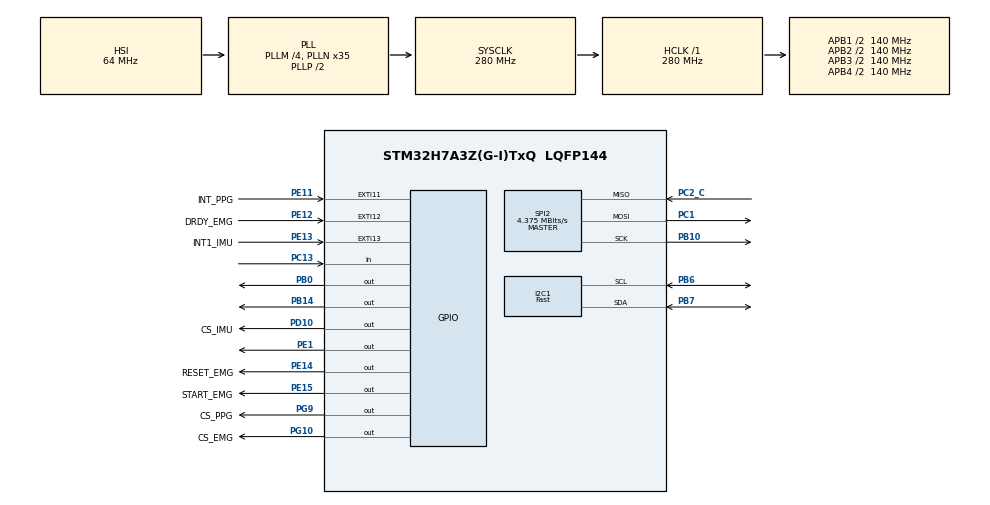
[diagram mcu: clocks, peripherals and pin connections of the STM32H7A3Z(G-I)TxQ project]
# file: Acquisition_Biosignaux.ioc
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CORTEX_M7.default_mode_Activation=1
Dma.Request0=SPI2_RX
Dma.Request1=SPI2_TX
Dma.SPI2_RX.0.Direction=DMA_PERIPH_TO_MEMORY
Dma.SPI2_RX.0.EventEnable=DISABLE
Dma.SPI2_RX.0.FIFOMode=DMA_FIFOMODE_DISABLE
Dma.SPI2_RX.0.Instance=DMA1_Stream3
Dma.SPI2_RX.0.MemDataAlignment=DMA_MDATAALIGN_BYTE
Dma.SPI2_RX.0.MemInc=DMA_MINC_ENABLE
Dma.SPI2_RX.0.Mode=DMA_NORMAL
Dma.SPI2_RX.0.PeriphDataAlignment=DMA_PDATAALIGN_BYTE
Dma.SPI2_RX.0.PeriphInc=DMA_PINC_DISABLE
Dma.SPI2_RX.0.Polarity=HAL_DMAMUX_REQ_GEN_RISING
Dma.SPI2_RX.0.Priority=DMA_PRIORITY_LOW
Dma.SPI2_RX.0.RequestNumber=1
Dma.SPI2_RX.0.SignalID=NONE
Dma.SPI2_RX.0.SyncEnable=DISABLE
Dma.SPI2_RX.0.SyncPolarity=HAL_DMAMUX_SYNC_NO_EVENT
Dma.SPI2_RX.0.SyncRequestNumber=1
Dma.SPI2_RX.0.SyncSignalID=NONE
Dma.SPI2_TX.1.Direction=DMA_MEMORY_TO_PERIPH
Dma.SPI2_TX.1.EventEnable=DISABLE
Dma.SPI2_TX.1.FIFOMode=DMA_FIFOMODE_DISABLE
Dma.SPI2_TX.1.Instance=DMA1_Stream4
Dma.SPI2_TX.1.MemDataAlignment=DMA_MDATAALIGN_BYTE
Dma.SPI2_TX.1.MemInc=DMA_MINC_ENABLE
Dma.SPI2_TX.1.Mode=DMA_NORMAL
Dma.SPI2_TX.1.PeriphDataAlignment=DMA_PDATAALIGN_BYTE
Dma.SPI2_TX.1.PeriphInc=DMA_PINC_DISABLE
Dma.SPI2_TX.1.Polarity=HAL_DMAMUX_REQ_GEN_RISING
Dma.SPI2_TX.1.Priority=DMA_PRIORITY_LOW
Dma.SPI2_TX.1.RequestNumber=1
Dma.SPI2_TX.1.SignalID=NONE
Dma.SPI2_TX.1.SyncEnable=DISABLE
Dma.SPI2_TX.1.SyncPolarity=HAL_DMAMUX_SYNC_NO_EVENT
Dma.SPI2_TX.1.SyncRequestNumber=1
Dma.SPI2_TX.1.SyncSignalID=NONE
FREERTOS.Mutexes01=MTX_SPI2,Dynamic,NULL,Depleted;MTX_I2C1,Dynamic,NULL,Depleted;MTX_PPG_BUF,Dynamic,NULL,Depleted;MTX_EMG_BUF,Dynamic,NULL,Available
FREERTOS.Queues01=Q_TEMP,10,20,1,Dynamic,NULL,NULL;Q_RESULTS,20,64,1,Dynamic,NULL,NULL;Q_FEATURES,1,10,1,Dynamic,NULL,NULL
FREERTOS.Tasks01=vTaskEMGAcq,32,512,StartTaskEMG,Default,NULL,Dynamic,NULL,NULL;vTaskPPGAcq,32,512,StartTaskPPG,Default,NULL,Dynamic,NULL,NULL;vTaskIMUAcq,32,512,StartTaskIMU,Default,NULL,Dynamic,NULL,NULL;vTaskTempAcq,24,256,StartTaskTemp,Default,NULL,Dynamic,NULL,NULL;vTaskDSP,24,1024,StartTaskDSP,Default,NULL,Dynamic,NULL,NULL;TempProcessTask,24,256,StartTempProcess,Default,NULL,Dynamic,NULL,NULL;TaskFeatures,24,512,StartTaskFeatures,Default,NULL,Dynamic,NULL,NULL;vTaskEMGProcess,24,512,StartTaskEMGProcess,Default,NULL,Dynamic,NULL,NULL
FREERTOS.configTOTAL_HEAP_SIZE=32768
FREERTOS.configUSE_NEWLIB_REENTRANT=1
I2C1.I2C_Speed_Mode=I2C_Fast
I2C1.Timing=0x00D04BFF
Mcu.Family=STM32H7
Mcu.Name=STM32H7A3Z(G-I)TxQ
Mcu.Package=LQFP144
NUCLEO-H7A3ZI-Q.BUTTON=1
NUCLEO-H7A3ZI-Q.LD1=true
NUCLEO-H7A3ZI-Q.LD2=true
NUCLEO-H7A3ZI-Q.LD3=true
NUCLEO-H7A3ZI-Q.VCP=true
NVIC.DMA1_Stream3_IRQn=true\:5\:0\:true\:false\:true\:false\:false\:true\:true
NVIC.DMA1_Stream4_IRQn=true\:5\:0\:true\:false\:true\:false\:false\:true\:true
NVIC.EXTI15_10_IRQn=true\:5\:0\:false\:true\:true\:1\:true\:false\:true\:true
NVIC.PriorityGroup=NVIC_PRIORITYGROUP_4
NVIC.SPI2_IRQn=true\:5\:0\:false\:false\:true\:true\:false\:true\:true
NVIC.TIM2_IRQn=true\:5\:0\:false\:false\:true\:true\:true\:true\:true
NVIC.TIM7_IRQn=true\:15\:0\:false\:false\:true\:false\:false\:true\:true
NVIC.TimeBase=TIM7_IRQn
NVIC.TimeBaseIP=TIM7
PB0.Signal=GPIO_Output
PB10.Mode=Full_Duplex_Master
PB10.Signal=SPI2_SCK
PB14.Signal=GPIO_Output
PB6.Mode=I2C
PB6.Signal=I2C1_SCL
PB7.Mode=I2C
PB7.Signal=I2C1_SDA
PC1.Mode=Full_Duplex_Master
PC1.Signal=SPI2_MOSI
PC13.Signal=GPIO_Input
PC14-OSC32_IN.GPIO_Label=OSC32_IN
PC14-OSC32_IN.Signal=RCC_OSC32_IN
PC15-OSC32_OUT.GPIO_Label=OSC32_OUT
PC15-OSC32_OUT.Signal=RCC_OSC32_OUT
PC2_C.Mode=Full_Duplex_Master
PC2_C.Signal=SPI2_MISO
PD10.GPIO_Label=CS_IMU
PD10.GPIO_PuPd=GPIO_PULLUP
PD10.GPIO_Speed=GPIO_SPEED_FREQ_HIGH
PD10.PinState=GPIO_PIN_SET
PD10.Signal=GPIO_Output
PD8.Signal=USART3_TX
PD9.Signal=USART3_RX
PE1.Signal=GPIO_Output
PE11.GPIO_Label=INT_PPG
PE11.GPIO_ModeDefaultEXTI=GPIO_MODE_IT_FALLING
PE11.GPIO_PuPd=GPIO_PULLUP
PE11.Signal=GPXTI11
PE12.GPIO_Label=DRDY_EMG
PE12.GPIO_ModeDefaultEXTI=GPIO_MODE_IT_FALLING
PE12.GPIO_PuPd=GPIO_PULLUP
PE12.Signal=GPXTI12
PE13.GPIO_Label=INT1_IMU
PE13.GPIO_ModeDefaultEXTI=GPIO_MODE_IT_RISING
PE13.GPIO_PuPd=GPIO_PULLDOWN
PE13.Signal=GPXTI13
PE14.GPIO_Label=RESET_EMG
PE14.Signal=GPIO_Output
PE15.GPIO_Label=START_EMG
PE15.Signal=GPIO_Output
PG10.GPIO_Label=CS_EMG
PG10.GPIO_Speed=GPIO_SPEED_FREQ_HIGH
PG10.PinState=GPIO_PIN_SET
PG10.Signal=GPIO_Output
PG9.GPIO_Label=CS_PPG
PG9.GPIO_PuPd=GPIO_NOPULL
PG9.GPIO_Speed=GPIO_SPEED_FREQ_HIGH
PG9.PinState=GPIO_PIN_SET
PG9.Signal=GPIO_Output
PH0-OSC_IN.GPIO_Label=PH0-MCU
PH0-OSC_IN.Signal=RCC_OSC_IN
PH1-OSC_OUT.GPIO_Label=PH1-MCU
PH1-OSC_OUT.Signal=RCC_OSC_OUT
ProjectManager.HeapSize=0x200
ProjectManager.StackSize=0x400
ProjectManager.TargetToolchain=STM32CubeIDE
RCC.ADCFreq_Value=129000000
RCC.APB1Freq_Value=140000000
RCC.APB2Freq_Value=140000000
RCC.APB3Freq_Value=140000000
RCC.APB4Freq_Value=140000000
RCC.CDPPRE=RCC_APB3_DIV2
RCC.CDPPRE1=RCC_APB1_DIV2
RCC.CDPPRE2=RCC_APB2_DIV2
RCC.CortexFreq_Value=280000000
RCC.DIVM1=4
RCC.DIVM3=1
RCC.DIVN1=35
RCC.DIVN3=24
RCC.HCLKFreq_Value=280000000
RCC.HSE_VALUE=8000000
RCC.PLLFRACN=0
RCC.SRDPPRE=RCC_APB4_DIV2
RCC.SYSCLKFreq_VALUE=280000000
RCC.SYSCLKSource=RCC_SYSCLKSOURCE_PLLCLK
RCC.SupplySource=PWR_DIRECT_SMPS_SUPPLY
RCC.USBCLockSelection=RCC_USBCLKSOURCE_HSI48
RCC.USBFreq_Value=48000000
SPI2.BaudRatePrescaler=SPI_BAUDRATEPRESCALER_64
SPI2.CalculateBaudRate=4.375 MBits/s
SPI2.DataSize=SPI_DATASIZE_8BIT
SPI2.Direction=SPI_DIRECTION_2LINES
SPI2.Mode=SPI_MODE_MASTER
SPI2.NSSPMode=SPI_NSS_PULSE_DISABLE
SPI2.VirtualType=VM_MASTER
TIM2.Prescaler=279
VP_FREERTOS_VS_CMSIS_V2.Mode=CMSIS_V2
VP_MEMORYMAP_VS_MEMORYMAP.Mode=CurAppReg
VP_NUCLEO-H7A3ZI-Q_VS_BSP_COMMON.Mode=COMMON
VP_SYS_VS_tim7.Mode=TIM7
VP_TIM2_VS_ClockSourceINT.Mode=Internal
board=NUCLEO-H7A3ZI-Q

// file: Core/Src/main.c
/* USER CODE BEGIN Header */
/**
  ******************************************************************************
  * @file           : main.c
  * @brief          : Main program body
  ******************************************************************************
  * @attention
  *
  * Copyright (c) 2026 STMicroelectronics.
  * All rights reserved.
  *
  * This software is licensed under terms that can be found in the LICENSE file
  * in the root directory of this software component.
  * If no LICENSE file comes with this software, it is provided AS-IS.
  *
  ******************************************************************************
  */
/* USER CODE END Header */
#include "main.h"
#include "cmsis_os.h"
#include "dma.h"
#include "i2c.h"
#include "memorymap.h"
#include "spi.h"
#include "tim.h"
#include "gpio.h"

/* USER CODE BEGIN Includes */
#include "max86141.h"
#include "ads1292r.h"
#include "lsm6dso_imu.h"
#include "tmp117.h"
#include "shtc3.h"
/* USER CODE END Includes */

COM_InitTypeDef BspCOMInit;

/* USER CODE BEGIN PV */

/* Autres variables globales (comme vos handles de tâches) */

/* USER CODE END PV */

void SystemClock_Config(void);
static void MPU_Config(void);
void MX_FREERTOS_Init(void);
static void MX_NVIC_Init(void);

int main(void)
{

  /* MPU Configuration--------------------------------------------------------*/
  MPU_Config();

  /* MCU Configuration--------------------------------------------------------*/

  /* Reset of all peripherals, Initializes the Flash interface and the Systick. */
  HAL_Init();

  /* Configure the system clock */
  SystemClock_Config();

  /* Initialize all configured peripherals */
  MX_GPIO_Init();
  MX_DMA_Init();
  MX_I2C1_Init();
  MX_SPI2_Init();
  MX_TIM2_Init();

  /* Initialize interrupts */
  MX_NVIC_Init();
  /* USER CODE BEGIN 2 */

  /* Initialize leds */
  BSP_LED_Init(LED_GREEN);
  BSP_LED_Init(LED_YELLOW);
  BSP_LED_Init(LED_RED);

 int  init_ok=1;
  /* Initialiser MAX86141 PPG — CS = PG9 */
  /* flag — 1=tout ok · 0=erreur */

  if(MAX86141_Init(&hspi2, GPIOG, GPIO_PIN_9) == 0)
  {
      BSP_LED_On(LED_RED);    /* capteur PPG non détecté → LED rouge */
      init_ok=0;
      Error_Handler();

  }

  /* Initialiser ADS1292R EMG — CS géré par macro dans ads1292r.h */
  if(ADS1292R_Init() == 0)
  {
	  BSP_LED_On(LED_YELLOW);   /* capteur EMG non détecté → LED jaune*/
	  init_ok=0;
      Error_Handler();
  }

  if (LSM6DSO_IMU_Init(&hspi2, CS_IMU_GPIO_Port, CS_IMU_Pin) != LSM6DSO_IMU_OK)
  {
      BSP_LED_On(LED_RED);
      init_ok = 0;
      Error_Handler();
  }

  uint8_t tmp117_init_buf[4];
  if (!init(&hi2c1, tmp117_init_buf)) {
      BSP_LED_On(LED_RED);
      init_ok = 0;
  }

  if (shtc3_read_id(&hi2c1) == 0) {
      BSP_LED_On(LED_RED);
      init_ok = 0;
  }

  if (init_ok==1){ BSP_LED_On(LED_GREEN);}

  /* USER CODE END 2 */

  /* Init scheduler */
  osKernelInitialize();

  /* Call init function for freertos objects (in cmsis_os2.c) */
  MX_FREERTOS_Init();

  /* Initialize leds */
  BSP_LED_Init(LED_GREEN);
  BSP_LED_Init(LED_YELLOW);
  BSP_LED_Init(LED_RED);

  /* Initialize USER push-button, will be used to trigger an interrupt each time it's pressed.*/
  BSP_PB_Init(BUTTON_USER, BUTTON_MODE_EXTI);

  /* Initialize COM1 port (115200, 8 bits (7-bit data + 1 stop bit), no parity */
  BspCOMInit.BaudRate   = 115200;
  BspCOMInit.WordLength = COM_WORDLENGTH_8B;
  BspCOMInit.StopBits   = COM_STOPBITS_1;
  BspCOMInit.Parity     = COM_PARITY_NONE;
  BspCOMInit.HwFlowCtl  = COM_HWCONTROL_NONE;
  if (BSP_COM_Init(COM1, &BspCOMInit) != BSP_ERROR_NONE)
  {
    Error_Handler();
  }

  /* Start scheduler */
  osKernelStart();

  /* We should never get here as control is now taken by the scheduler */

  /* Infinite loop */
  while (1)
  {

  }
}

void SystemClock_Config(void)
{
  RCC_OscInitTypeDef RCC_OscInitStruct = {0};
  RCC_ClkInitTypeDef RCC_ClkInitStruct = {0};

  /*AXI clock gating */
  RCC->CKGAENR = 0xFFFFFFFF;

  /** Supply configuration update enable
  */
  HAL_PWREx_ConfigSupply(PWR_DIRECT_SMPS_SUPPLY);

  /** Configure the main internal regulator output voltage
  */
  __HAL_PWR_VOLTAGESCALING_CONFIG(PWR_REGULATOR_VOLTAGE_SCALE0);

  while(!__HAL_PWR_GET_FLAG(PWR_FLAG_VOSRDY)) {}

  /** Initializes the RCC Oscillators according to the specified parameters
  * in the RCC_OscInitTypeDef structure.
  */
  RCC_OscInitStruct.OscillatorType = RCC_OSCILLATORTYPE_HSI;
  RCC_OscInitStruct.HSIState = RCC_HSI_DIV1;
  RCC_OscInitStruct.HSICalibrationValue = 64;
  RCC_OscInitStruct.PLL.PLLState = RCC_PLL_ON;
  RCC_OscInitStruct.PLL.PLLSource = RCC_PLLSOURCE_HSI;
  RCC_OscInitStruct.PLL.PLLM = 4;
  RCC_OscInitStruct.PLL.PLLN = 35;
  RCC_OscInitStruct.PLL.PLLP = 2;
  RCC_OscInitStruct.PLL.PLLQ = 2;
  RCC_OscInitStruct.PLL.PLLR = 2;
  RCC_OscInitStruct.PLL.PLLRGE = RCC_PLL1VCIRANGE_3;
  RCC_OscInitStruct.PLL.PLLVCOSEL = RCC_PLL1VCOWIDE;
  RCC_OscInitStruct.PLL.PLLFRACN = 0;
  if (HAL_RCC_OscConfig(&RCC_OscInitStruct) != HAL_OK)
  {
    Error_Handler();
  }

  /** Initializes the CPU, AHB and APB buses clocks
  */
  RCC_ClkInitStruct.ClockType = RCC_CLOCKTYPE_HCLK|RCC_CLOCKTYPE_SYSCLK
                              |RCC_CLOCKTYPE_PCLK1|RCC_CLOCKTYPE_PCLK2
                              |RCC_CLOCKTYPE_D3PCLK1|RCC_CLOCKTYPE_D1PCLK1;
  RCC_ClkInitStruct.SYSCLKSource = RCC_SYSCLKSOURCE_PLLCLK;
  RCC_ClkInitStruct.SYSCLKDivider = RCC_SYSCLK_DIV1;
  RCC_ClkInitStruct.AHBCLKDivider = RCC_HCLK_DIV1;
  RCC_ClkInitStruct.APB3CLKDivider = RCC_APB3_DIV2;
  RCC_ClkInitStruct.APB1CLKDivider = RCC_APB1_DIV2;
  RCC_ClkInitStruct.APB2CLKDivider = RCC_APB2_DIV2;
  RCC_ClkInitStruct.APB4CLKDivider = RCC_APB4_DIV2;

  if (HAL_RCC_ClockConfig(&RCC_ClkInitStruct, FLASH_LATENCY_6) != HAL_OK)
  {
    Error_Handler();
  }
}

/**
  * @brief NVIC Configuration.
  * @retval None
  */
static void MX_NVIC_Init(void)
{
  /* EXTI15_10_IRQn interrupt configuration */
  HAL_NVIC_SetPriority(EXTI15_10_IRQn, 5, 0);
  HAL_NVIC_EnableIRQ(EXTI15_10_IRQn);
}

 /* MPU Configuration */

void MPU_Config(void)
{
  MPU_Region_InitTypeDef MPU_InitStruct = {0};

  /* Disables the MPU */
  HAL_MPU_Disable();

  /** Initializes and configures the Region and the memory to be protected
  */
  MPU_InitStruct.Enable = MPU_REGION_ENABLE;
  MPU_InitStruct.Number = MPU_REGION_NUMBER0;
  MPU_InitStruct.BaseAddress = 0x0;
  MPU_InitStruct.Size = MPU_REGION_SIZE_4GB;
  MPU_InitStruct.SubRegionDisable = 0x87;
  MPU_InitStruct.TypeExtField = MPU_TEX_LEVEL0;
  MPU_InitStruct.AccessPermission = MPU_REGION_NO_ACCESS;
  MPU_InitStruct.DisableExec = MPU_INSTRUCTION_ACCESS_DISABLE;
  MPU_InitStruct.IsShareable = MPU_ACCESS_SHAREABLE;
  MPU_InitStruct.IsCacheable = MPU_ACCESS_NOT_CACHEABLE;
  MPU_InitStruct.IsBufferable = MPU_ACCESS_NOT_BUFFERABLE;

  HAL_MPU_ConfigRegion(&MPU_InitStruct);
  /* Enables the MPU */
  HAL_MPU_Enable(MPU_PRIVILEGED_DEFAULT);

}

void HAL_TIM_PeriodElapsedCallback(TIM_HandleTypeDef *htim)
{
  if (htim->Instance == TIM7) {
    HAL_IncTick();
  }
}

void Error_Handler(void)
{
  __disable_irq();
  while (1)
  {
  }
}

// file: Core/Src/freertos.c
/* USER CODE BEGIN Header */
/**
  ******************************************************************************
  * File Name          : freertos.c
  * Description        : Code for freertos applications
  ******************************************************************************
  * @attention
  *
  * Copyright (c) 2026 STMicroelectronics.
  * All rights reserved.
  *
  * This software is licensed under terms that can be found in the LICENSE file
  * in the root directory of this software component.
  * If no LICENSE file comes with this software, it is provided AS-IS.
  *
  ******************************************************************************
  */
/* USER CODE END Header */

#include "FreeRTOS.h"
#include "task.h"
#include "main.h"
#include "cmsis_os.h"

/* USER CODE BEGIN Includes */
#include "max86141.h"
#include "ads1292r.h"
#include "stream_buffer.h"
#include "semphr.h"
#include "string.h"
#include "lsm6dso_imu.h"
#include "tmp117.h"    /* ← doit être présent */
#include "shtc3.h"
#include "ppg_filter.h"
#include "nlms_filter.h"
#include "imu_interpolation.h"
/* USER CODE END Includes */

/* USER CODE BEGIN PD */
/* USER CODE BEGIN PD */
/****************************** Elle regroupe des données de 3 sources
   → TMP117 + SHTC3 + TIM2*******************************************/
/* Taille = 4+4+4+4 = 16 octets
 * cohérent avec Q_TEMPHandle configuré 10 × 16 octets */
typedef struct {
    float    temp_skin_c;      /* TMP117 — température peau en °C  */
    float    temp_ambient_c;   /* SHTC3  — température ambiante °C */
    float    humidity_pct;     /* SHTC3  — humidité relative en %  */
    uint32_t timestamptemp117; /* TIM2   — instant mesure TMP117   */
    uint32_t timestampSHTC3;   /* TIM2   — instant mesure SHTC3    */
} Temp_Sample_t;

/* USER CODE END Elle regroupe des données de 3 sources
   → TMP117 + SHTC3 + TIM2PD */

/* USER CODE END PD */

/* USER CODE BEGIN Variables */
StreamBufferHandle_t SB_PPG = NULL;
StreamBufferHandle_t SB_EMG = NULL;
StreamBufferHandle_t SB_IMU = NULL;

SemaphoreHandle_t sem_dma_ppg = NULL;

/* pour calculer le temps de chaque sample */
extern volatile uint32_t ppg_isr_timestamp;
extern volatile uint32_t emg_isr_timestamp;
extern volatile uint32_t Imu_isr_timestamp;
extern uint8_t ADS1292R_data_buf[9];
extern I2C_HandleTypeDef hi2c1;
extern TIM_HandleTypeDef  htim2;

/* ajouté pour la tache IMU */

/* USER CODE END Variables */
/* Definitions for vTaskEMGAcq */
osThreadId_t vTaskEMGAcqHandle;
const osThreadAttr_t vTaskEMGAcq_attributes = {
  .name = "vTaskEMGAcq",
  .stack_size = 512 * 4,
  .priority = (osPriority_t) osPriorityAboveNormal,
};
/* Definitions for vTaskPPGAcq */
osThreadId_t vTaskPPGAcqHandle;
const osThreadAttr_t vTaskPPGAcq_attributes = {
  .name = "vTaskPPGAcq",
  .stack_size = 512 * 4,
  .priority = (osPriority_t) osPriorityAboveNormal,
};
/* Definitions for vTaskIMUAcq */
osThreadId_t vTaskIMUAcqHandle;
const osThreadAttr_t vTaskIMUAcq_attributes = {
  .name = "vTaskIMUAcq",
  .stack_size = 512 * 4,
  .priority = (osPriority_t) osPriorityAboveNormal,
};
/* Definitions for vTaskTempAcq */
osThreadId_t vTaskTempAcqHandle;
const osThreadAttr_t vTaskTempAcq_attributes = {
  .name = "vTaskTempAcq",
  .stack_size = 256 * 4,
  .priority = (osPriority_t) osPriorityNormal,
};
/* Definitions for vTaskDSP */
osThreadId_t vTaskDSPHandle;
const osThreadAttr_t vTaskDSP_attributes = {
  .name = "vTaskDSP",
  .stack_size = 1024 * 4,
  .priority = (osPriority_t) osPriorityNormal,
};
/* Definitions for TempProcessTask */
osThreadId_t TempProcessTaskHandle;
const osThreadAttr_t TempProcessTask_attributes = {
  .name = "TempProcessTask",
  .stack_size = 256 * 4,
  .priority = (osPriority_t) osPriorityNormal,
};
/* Definitions for Q_TEMP */
osMessageQueueId_t Q_TEMPHandle;
const osMessageQueueAttr_t Q_TEMP_attributes = {
  .name = "Q_TEMP"
};
/* Definitions for Q_RESULTS */
osMessageQueueId_t Q_RESULTSHandle;
const osMessageQueueAttr_t Q_RESULTS_attributes = {
  .name = "Q_RESULTS"
};
/* Definitions for MTX_SPI2 */
osMutexId_t MTX_SPI2Handle;
const osMutexAttr_t MTX_SPI2_attributes = {
  .name = "MTX_SPI2"
};
/* Definitions for MTX_I2C1 */
osMutexId_t MTX_I2C1Handle;
const osMutexAttr_t MTX_I2C1_attributes = {
  .name = "MTX_I2C1"
};

void StartTaskEMG(void *argument);
void StartTaskPPG(void *argument);
void StartTaskIMU(void *argument);
void StartTaskTemp(void *argument);
void StartTaskDSP(void *argument);
void StartTempProcess(void *argument);

void MX_FREERTOS_Init(void); /* (MISRA C 2004 rule 8.1) */

void MX_FREERTOS_Init(void) {
  /* Create the mutex(es) */
  /* creation of MTX_SPI2 */
  MTX_SPI2Handle = osMutexNew(&MTX_SPI2_attributes);

  /* creation of MTX_I2C1 */
  MTX_I2C1Handle = osMutexNew(&MTX_I2C1_attributes);

  /* USER CODE BEGIN RTOS_SEMAPHORES */
  /* add semaphores, ... */
  sem_dma_ppg = xSemaphoreCreateBinary();
  /* USER CODE END RTOS_SEMAPHORES */

  /* Create the queue(s) */
  /* creation of Q_TEMP */
  Q_TEMPHandle = osMessageQueueNew (10, 20, &Q_TEMP_attributes);

  /* creation of Q_RESULTS */
  Q_RESULTSHandle = osMessageQueueNew (20, 64, &Q_RESULTS_attributes);

  /* Create the thread(s) */
  /* creation of vTaskEMGAcq */
  vTaskEMGAcqHandle = osThreadNew(StartTaskEMG, NULL, &vTaskEMGAcq_attributes);

  /* creation of vTaskPPGAcq */
  vTaskPPGAcqHandle = osThreadNew(StartTaskPPG, NULL, &vTaskPPGAcq_attributes);

  /* creation of vTaskIMUAcq */
  vTaskIMUAcqHandle = osThreadNew(StartTaskIMU, NULL, &vTaskIMUAcq_attributes);

  /* creation of vTaskTempAcq */
  vTaskTempAcqHandle = osThreadNew(StartTaskTemp, NULL, &vTaskTempAcq_attributes);

  /* creation of vTaskDSP */
  vTaskDSPHandle = osThreadNew(StartTaskDSP, NULL, &vTaskDSP_attributes);

  /* creation of TempProcessTask */
  TempProcessTaskHandle = osThreadNew(StartTempProcess, NULL, &TempProcessTask_attributes);

  /* USER CODE BEGIN RTOS_EVENTS */
  /* add events, ... */

  /* SB_PPG — trigger = 1 lot complet de 64 paires */
  SB_PPG = xStreamBufferCreate(
      64 * sizeof(MAX86141_Sample_t) * 2,
      64 * sizeof(MAX86141_Sample_t)
  );

  /* SB_EMG et SB_IMU — trigger = 1 octet pour l'instant
     on ajustera quand vTaskDSP sera codé */
  SB_EMG = xStreamBufferCreate(512, 1);

  SB_IMU = xStreamBufferCreate(
      4 * sizeof(IMU_Batch_t),   /*  4 × 273 = 1092 octets */
      1 * sizeof(IMU_Batch_t)    /* trigger = 1 batch    */
  );

  if(SB_PPG == NULL || SB_EMG == NULL || SB_IMU == NULL)
  {
      Error_Handler();
  }

  /* USER CODE END RTOS_EVENTS */

}

void StartTaskEMG(void *argument)
{
  /* USER CODE BEGIN StartTaskEMG */
	  ADS1292R_Sample_t emg_sample;
	  uint32_t trigger_time_emg = 0;

	  // 1. Initialisation et démarrage du flux continu (RDATAC)
	  if(xSemaphoreTake(MTX_SPI2Handle, portMAX_DELAY) == pdTRUE) {
	      ADS1292R_ADCStartNormal();
	      xSemaphoreGive(MTX_SPI2Handle);
 }

  for(;;)
  {

	    // 2. Attendre l'interruption DRDY (PE12)
	    // Timeout 10ms (à 1000Hz, DRDY arrive toutes les 1ms)
	    if(ulTaskNotifyTake(pdTRUE, pdMS_TO_TICKS(10)) > 0)
	    {
	      // 3. Capturer le timestamp immédiat pris dans l'ISR
	      trigger_time_emg = emg_isr_timestamp;

	      // 4. Prendre le Mutex SPI2 (priorité haute pour ne pas rater le sample)
	      if(xSemaphoreTake(MTX_SPI2Handle, pdMS_TO_TICKS(1)) == pdTRUE)
	      {
	        // 5. Lire les 9 octets (Polling rapide)
	        ADS1292R_GetValue();
	        xSemaphoreGive(MTX_SPI2Handle);

	        // 6. Décoder les données brutes
	        ADS1292R_Decode(ADS1292R_data_buf, &emg_sample, trigger_time_emg);

	        // 7. Envoyer vers le StreamBuffer pour la tâche DSP / IA
	        if(SB_EMG != NULL) {
	            xStreamBufferSend(SB_EMG, &emg_sample, sizeof(ADS1292R_Sample_t), 0);
	        }
	      }
	    }
  }
  /* USER CODE END StartTaskEMG */
}

void StartTaskPPG(void *argument)
{
  /* USER CODE BEGIN StartTaskPPG */
  /* Infinite loop */
	/* ---------------------------------------------------------------
	 * Buffers SPI pour la lecture FIFO du MAX86141
	 *
	 * STATIC LOCAL — deux raisons :
	 *   1. DURÉE DE VIE : ces buffers doivent exister en permanence.
	 *      Le driver SPI DMA travaille dessus de manière asynchrone.
	 *      Sans static, ils seraient sur le stack et risqueraient
	 *      d'être écrasés ou détruits avant la fin du DMA.
	 *
	 *   2. TAILLE STACK : 385 + 385 = 770 octets.
	 *      Le stack de cette tâche est 512 words = 2048 octets.
	 *      Mettre 770 octets sur le stack laisserait peu de marge
	 *      → risque de stack overflow.
	 *      Avec static, ces buffers vont en zone RAM statique (BSS),
	 *      hors du stack, sans risque.
	 *
	 * TAILLE 385 octets = 1 octet commande + 64 paires * 6 octets
	 *   - 1 octet  : adresse registre FIFO_DATA (0x88 = READ | 0x08)
	 *   - 64 paires * 3 octets IR  = 192 octets
	 *   - 64 paires * 3 octets RED = 192 octets
	 *   - Total données            = 384 octets
	 * --------------------------------------------------------------- */

	  static uint8_t ppg_dummy_tx[1 + MAX86141_FIFO_MAX_SAMPLES * 6];
	  static uint8_t ppg_rx_buf [1 + MAX86141_FIFO_MAX_SAMPLES * 6];

	  MAX86141_Sample_t samples[MAX86141_FIFO_MAX_SAMPLES];
	  uint8_t count = 0;

	  memset(ppg_dummy_tx, 0x00, sizeof(ppg_dummy_tx));
	  /* metre des 0 dans tous les tx[]*/
	  ppg_dummy_tx[0] = MAX86141_SPI_READ | MAX86141_REG_FIFO_DATA;
	  uint32_t trigger_time = 0;

	  if(xSemaphoreTake(MTX_SPI2Handle,  portMAX_DELAY) == pdTRUE)
	   {
	       // Commande pour sortir du mode Shutdown (0x00 = Actif)
	       MAX86141_WriteReg(&hspi2, CS_PPG_GPIO_Port, CS_PPG_Pin, MAX86141_REG_SYS_CTRL, 0x00);
	       xSemaphoreGive(MTX_SPI2Handle);
	   }

	  for(;;)
	  {
	    /* Étape 1 — dormir maximum 150ms jusqu'à notification ISR PE11
	     * il faut 160ms pour perdre un fifo de 64 samples donc en a choisir de se bloquer au maximum 150ms */

		  if(ulTaskNotifyTake(pdTRUE, pdMS_TO_TICKS(150)) > 0)
	    {
	    /* Étape 2 — prendre le mutex SPI2 */
	    if(xSemaphoreTake(MTX_SPI2Handle, pdMS_TO_TICKS(2)) == pdTRUE)
	    {
	    	/*
	    	   * On ne lit plus le TIM2 ici !
	    	   * On récupère la "photo" du temps prise par l'interruption.
	    	   */
	    	trigger_time = ppg_isr_timestamp;

	      /* Étape 3 — lire nombre de paires disponibles */
	      count = MAX86141_GetFIFOCount(&hspi2, CS_PPG_GPIO_Port, CS_PPG_Pin);

	      if(count > 0)
	      {
	        /* Étape 4 — CS_LOW · lancer le DMA · CPU libre */
	        HAL_GPIO_WritePin(CS_PPG_GPIO_Port, CS_PPG_Pin, GPIO_PIN_RESET);

	        HAL_SPI_TransmitReceive_DMA(&hspi2,
	                                     ppg_dummy_tx,
	                                     ppg_rx_buf,
	                                     count * 6 + 1);

	        /* Attendre DMA — Sémaphore binaire SÉPARÉ */
	              xSemaphoreTake(sem_dma_ppg, pdMS_TO_TICKS(50));
	      }

	      /* Étape 6 — libérer le mutex */
	      xSemaphoreGive(MTX_SPI2Handle);

	      /* Étape 7 — décoder et envoyer dans SB_PPG */
	     /*C'est pour l'efficacité (optimisation) :
		   Si le capteur n'a aucune nouvelle donnée (count = 0),
		   il est inutile d'appeler la fonction xStreamBufferSend*/

	      /* SB_PPG est NULL, le processeur va tenter d'écrire des données à l'adresse 0x00000000.
             Sur un STM32H7, cela provoque immédiatement une HardFault
             (le processeur s'arrête net et notre appareil médical plante).*/

	      if(count > 0 && SB_PPG != NULL)
	      {
	        MAX86141_DecodeFIFO(ppg_rx_buf, samples, count,trigger_time);
	        xStreamBufferSend(SB_PPG,
	                          samples,
	                          count * sizeof(MAX86141_Sample_t),
	                          0);
	      }
	    }
	  }
	  }
  /* USER CODE END StartTaskPPG */
}

void StartTaskIMU(void *argument)
{
  /* USER CODE BEGIN StartTaskIMU */

	IMU_Batch_t batch ;

	if (xSemaphoreTake(MTX_SPI2Handle, pdMS_TO_TICKS(100)) == pdTRUE)
	  {
	      LSM6DSO_IMU_Start();
	      xSemaphoreGive(MTX_SPI2Handle);
	  }

	  /* Imu_isr_timestamp déclaré dans freertos.c
	   * capturé dans HAL_GPIO_EXTI_Callback        */

	  for(;;)
	  {
		/*******************************************************************/
		  /*ODR = 104 Hz → 1 sample toutes les 9.6ms
		  XL + GY batchés → 2 slots par période = 208 slots/seconde

		  Watermark = 20 slots
		  Temps pour remplir 20 slots = 20 / 208 = ~96ms

		  → INT1 se déclenche toutes les ~96ms
	     /* --- Attendre INT1_IMU (PE13) — watermark FIFO atteint
	      Timeout 200ms : capteur silencieux → on retourne attendre */
	    if (ulTaskNotifyTake(pdTRUE, pdMS_TO_TICKS(200)) != 0)
	    {
	      /* Sauvegarder le timestamp capturé dans l'ISR
	       * C'est l'instant réel du déclenchement INT1   */
	      uint32_t sample_timestamp = Imu_isr_timestamp;

	      /* --- Prendre le mutex SPI2
	       * SPI2 partagé entre MAX86141, ADS1292R, LSM6DSO
	       * Timeout 50ms : bus occupé → on abandonne      */
	      if (xSemaphoreTake(MTX_SPI2Handle, pdMS_TO_TICKS(50)) == pdTRUE)
	      {
	    	   /* -----------------------------------------------
	    	         * Lire les slots bruts du FIFO LSM6DSO
	    	         *
	    	         * LSM6DSO_IMU_ReadFIFO_Raw :
	    	         *   → lit 20 slots (10 XL + 10 GY)
	    	         *   → garde seulement les 10 slots XL
	    	         *   → convertit en mg (× 0.122)
	    	         *   → calcule le timestamp de chaque slot :
	    	         *     slot 9 = sample_timestamp
	    	         *     slot 8 = sample_timestamp - 9615µs
	    	         *     slot 0 = sample_timestamp - 9×9615µs
	    	         *   → stocke dans batch.slots[]
	    	         *   → écrit le nombre de slots dans batch.count
	    	         *
	    	         * Pas de moyenne → valeurs brutes réelles ✓
	    	         * ----------------------------------------------- */

	    	  int32_t ret = LSM6DSO_IMU_ReadFIFO_Raw(
	    	                           batch.slots,
	    	                           &batch.count,
	    	                           sample_timestamp);

	        /* --- Libérer le mutex dès que la lecture est terminée */
	        xSemaphoreGive(MTX_SPI2Handle);

	        /* --- Appliquer le timestamp ISR et envoyer --- */
	        if (ret == LSM6DSO_IMU_OK && SB_IMU != NULL)
	              {
	                  xStreamBufferSend(SB_IMU,
	                                    &batch,
	                                    sizeof(IMU_Batch_t),
	                                    0);
	        }
	      }
	    }
	  }

  /* USER CODE END StartTaskIMU */
}

void StartTaskTemp(void *argument)
{
  /* USER CODE BEGIN StartTaskTemp */
	/***************************************************************************/
	/*Fréquences réelles :
	  TMP117 : 2.54 Hz (394ms par cycle)
	  SHTC3  : 2.54 Hz (394ms par cycle)
	  → suffisant car signal température < 0.1 Hz */
	/***************************************************************************/
	  /* ---------------------------------------------------------------
	   * Buffer I2C pour le driver TMP117
	   * static : permanent, hors stack, privé à cette tâche
	   * Taille 4 : writeReg2B utilise 3 octets max + 1 marge
	   * --------------------------------------------------------------- */
	  static uint8_t tmp117_buf[4];

	  /* Résultat TMP117 en double
	   * Le driver impose double (résolution 0.0078125°C)
	   * Converti en float pour Temp_Sample_t               */
	  double skin_temp_d = 0.0;

	  /* Résultats SHTC3 en int32_t × 100
	   * temp : 2410  = 24.10°C
	   * hum  : 65    = 65%                                 */
	  int32_t shtc3_temp_raw = 0;
	  int32_t shtc3_hum_raw  = 0;

	  /* Flags de résultat */
	  bool tmp_ok = false;
	  uint32_t shtc_ok = 0;

	  /* Timestamps séparés pour chaque capteur */
	  uint32_t tmp117_timestamp = 0;
	  uint32_t shtc3_timestamp  = 0;

	  /* Structure de sortie vers vTaskDSP */
	  Temp_Sample_t temp_sample;

	  for(;;)
	  {
	    /* -----------------------------------------------------------
	     * ÉTAPE 1 — Attendre 250ms
	     *
	     * Pas d'interruption pour la température :
	     *   → pas de FIFO qui déborde
	     *   → température évolue en secondes pas en ms
	     *   → osDelay suffit largement
	     *
	     * osDelay libère le CPU pour les autres tâches
	     * contrairement à HAL_Delay (busy wait)
	     * ----------------------------------------------------------- */
	    osDelay(250);

	    /* -----------------------------------------------------------
	     * ÉTAPE 2 — Prendre le mutex I2C1
	     *
	     * Pour envoyer la commande One-Shot au TMP117.
	     * On libère juste après car la conversion dure
	     * 124ms sans utiliser le bus I2C.
	     * Timeout 100ms : I2C1 normalement jamais occupé longtemps.
	     * ----------------------------------------------------------- */
	    if (xSemaphoreTake(MTX_I2C1Handle, pdMS_TO_TICKS(100)) == pdTRUE)
	    {

	    	/* Lancer TMP117 One-Shot */
	    	setConversionMode(&hi2c1, tmp117_buf, TMP117_OS_MODE);

	    	/* Lancer SHTC3 pendant la même fenêtre */
	    	shtc3_wakeup(&hi2c1);

	    	xSemaphoreGive(MTX_I2C1Handle);
	    	osDelay(1);  /* attendre 240µs SHTC3 wakeup */

	    	/* Les deux capteurs "travaillent" maintenant */
	    	/* TMP117 : conversion interne ~124ms         */
	    	/* SHTC3  : prêt en IDLE, attend commande     */

	    	osDelay(129); /* attendre fin TMP117 (130ms - 1ms déjà attendu) */
	    	tmp117_timestamp = __HAL_TIM_GET_COUNTER(&htim2);
	    	if (xSemaphoreTake(MTX_I2C1Handle, pdMS_TO_TICKS(100)) == pdTRUE)
	    	{
	    	    /* Lire TMP117 */

	    	    tmp_ok = getResultTemperature(&hi2c1, tmp117_buf, &skin_temp_d);

	    	    /* Lire SHTC3 immédiatement après
	    	     * Les deux mesures sont maintenant séparées de ~1ms
	    	     * au lieu de ~14ms                                  */
	    	    shtc_ok = shtc3_perform_measurements(&hi2c1,
	    	                                          &shtc3_temp_raw,
	    	                                          &shtc3_hum_raw);
	    	    shtc3_timestamp = __HAL_TIM_GET_COUNTER(&htim2);

	    	    shtc3_sleep(&hi2c1);
	    	    xSemaphoreGive(MTX_I2C1Handle);
	    	}

	        /* -------------------------------------------------------
	         * ÉTAPE 14 — Convertir et envoyer si les deux OK
	         *
	         * tmp_ok  : bool     → true  = TMP117 lu correctement
	         * shtc_ok : uint32_t → 1     = SHTC3 CRC OK
	         *
	         * Si un seul échoue → on abandonne ce cycle
	         * Prochain cycle dans 250ms → acceptable
	         * ------------------------------------------------------- */
	        if (tmp_ok && (shtc_ok == 1))
	        {
	          /* TMP117 : double → float
	           * float = 7 chiffres significatifs
	           * largement suffisant pour 0.0078°C résolution  */
	          temp_sample.temp_skin_c = (float)skin_temp_d;

	          /* SHTC3 température : centièmes d'°C → °C
	           * 2410 / 100.0f = 24.10°C
	           * 100.0f obligatoire → sinon division entière
	           * 2410 / 100 = 24 (perte des décimales !)       */
	          temp_sample.temp_ambient_c = (float)shtc3_temp_raw / 100.0f;

	          /* SHTC3 humidité : déjà en %
	           * 65 → 65.0%                                    */
	          temp_sample.humidity_pct = (float)shtc3_hum_raw;

	          /* Timestamp TMP117 comme référence principale
	           * Signal médical le plus important
	           * shtc3_timestamp disponible si vTaskDSP en a
	           * besoin séparément                             */
	          temp_sample.timestampSHTC3=shtc3_timestamp;
	          temp_sample.timestamptemp117 = tmp117_timestamp;

	          /* Envoyer vers vTaskDSP via Q_TEMPHandle
	           * osMessageQueuePut COPIE les données
	           * timeout 0 = non bloquant
	           * Si queue pleine → données perdues
	           * acceptable : prochaine mesure dans 250ms      */
	          osMessageQueuePut(Q_TEMPHandle,
	                            &temp_sample,
	                            0,
	                            0);
	        }
	      }
	    }
  /* USER CODE END StartTaskTemp */
}

void StartTaskDSP(void *argument)
{
  /* USER CODE BEGIN StartTaskDSP */

	  /* Filtres PPG */
	  static BandpassFilter_t ppg_filter_ir;
	  static BandpassFilter_t ppg_filter_red;
	  PPG_Filter_Init(&ppg_filter_ir);
	  PPG_Filter_Init(&ppg_filter_red);

	  /* Filtres NLMS */
	  static NLMS_Filter_t nlms_ir;
	  static NLMS_Filter_t nlms_red;
	  NLMS_Init(&nlms_ir,  0.01f);
	  NLMS_Init(&nlms_red, 0.01f);

	  /* Interpolation IMU */
	  static IMU_Interp_t imu_interp;
	  IMU_Interp_Init(&imu_interp);

	  /* Buffers réception */
	  MAX86141_Sample_t ppg_lot[64];
	  IMU_Batch_t       imu_received;
	  size_t            bytes_ppg = 0;
	  size_t            bytes_imu = 0;

	  /* Synchronisation */
	  static uint8_t reject_next_imu = 0;

	  /* Buffer circulaire PPG 20s */
	  #define PPG_WINDOW_SIZE  8000
	  static float    ppg_ir_buf[PPG_WINDOW_SIZE];
	  static float    ppg_red_buf[PPG_WINDOW_SIZE];
	  static uint16_t ppg_win_idx = 0;
	  static uint32_t ppg_count   = 0;

	  for(;;)
	  {
	    /* -------------------------------------------
	     * ÉTAPE 1 — Attendre lot PPG (bloquant)
	     * ------------------------------------------- */
	    bytes_ppg = xStreamBufferReceive(
	                    SB_PPG,
	                    ppg_lot,
	                    sizeof(ppg_lot),
	                    portMAX_DELAY);

	    /* -------------------------------------------
	     * ÉTAPE 2 — Attendre IMU (20ms timeout)
	     * ------------------------------------------- */
	    bytes_imu = xStreamBufferReceive(
	                    SB_IMU,
	                    &imu_received,
	                    sizeof(IMU_Batch_t),
	                    pdMS_TO_TICKS(50));

	    /* imu_ok  C'est un drapeau booléen simple.

imu_ok = 1 → batch IMU reçu correctement ✓
imu_ok = 0 → batch IMU absent ou incomplet ✗
	      */

	    uint8_t imu_ok = (bytes_imu == sizeof(IMU_Batch_t))
	                     ? 1 : 0;

	    /* -------------------------------------------
	     * ÉTAPE 3 — Gérer synchronisation IMU/PPG
	     * ------------------------------------------- */
	    if (imu_ok && reject_next_imu == 1)
	    {
	        /* IMU désynchronisé → rejeter ce lot IMU
	         * traiter PPG avec filtre passe-bande seul */
	        reject_next_imu = 0;
	        imu_ok = 0;
	    }

	    if (!imu_ok)
	    {
	        /* Pas d'IMU valide ce lot
	         * → rejeter le prochain lot IMU aussi
	         * → filtre passe-bande seulement         */
	        reject_next_imu = 1;

	        for (uint8_t p = 0; p < 64; p++)
	        {
	            float ir_f  = PPG_Filter_Apply(
	                              &ppg_filter_ir,
	                              (float)ppg_lot[p].ir);
	            float red_f = PPG_Filter_Apply(
	                              &ppg_filter_red,
	                              (float)ppg_lot[p].red);

	            ppg_ir_buf[ppg_win_idx]  = ir_f;
	            ppg_red_buf[ppg_win_idx] = red_f;
	            ppg_win_idx = (ppg_win_idx + 1)
	                        % PPG_WINDOW_SIZE;
	            ppg_count++;
	        }
	    }
	    else
	    {
	        /* -------------------------------------------
	         * ÉTAPE 4 — IMU synchronisé
	         * Préparer interpolation + traiter PPG
	         * ------------------------------------------- */
	        IMU_Interp_SetBatch(&imu_interp,
	                             &imu_received,
	                             1);

	        for (uint8_t p = 0; p < 64; p++)
	        {

	   /************************************************************************/
	        	/*Pour chaque sample PPG :

  1. IMU_Interp_GetMag() :
     → trouve l'instant exact du sample PPG
     → interpole entre deux slots IMU
     → retourne magnitude en mg (ex: 1089mg)

  2. IMU_Interp_Normalize() :
     → centre autour de 0
     → retourne valeur entre 0 et 1 (ex: 0.089)

  3. NLMS_Apply() :
     → utilise mag_norm pour corriger le PPG
     → soustrait l'artefact de mouvement ✓*/

	   /***********************************************************************/

	            /* Interpoler magnitude IMU */

	            float mag = IMU_Interp_GetMag(
	                            &imu_interp,
	                            ppg_lot[p].timestamp);

	            /* Normaliser */
	            float mag_norm = IMU_Interp_Normalize(mag);

	            /* Filtrer PPG */
	            float ir_f  = PPG_Filter_Apply(
	                              &ppg_filter_ir,
	                              (float)ppg_lot[p].ir);
	            float red_f = PPG_Filter_Apply(
	                              &ppg_filter_red,
	                              (float)ppg_lot[p].red);

	            /* Corriger avec NLMS */
	            float ir_clean  = NLMS_Apply(&nlms_ir,
	                                          ir_f,
	                                          mag_norm);
	            float red_clean = NLMS_Apply(&nlms_red,
	                                          red_f,
	                                          mag_norm);

	            /* Stocker */
	            ppg_ir_buf[ppg_win_idx]  = ir_clean;
	            ppg_red_buf[ppg_win_idx] = red_clean;
	            ppg_win_idx = (ppg_win_idx + 1)
	                        % PPG_WINDOW_SIZE;
	            ppg_count++;
	        }
	    }

	    /* -------------------------------------------
	     * ÉTAPE 5 — Features toutes les secondes
	     * ------------------------------------------- */
	    if ((ppg_count % 400 == 0) &&
	        (ppg_count >= PPG_WINDOW_SIZE))
	    {
	        /* calculer les 7 features PPG */
	    }
	  }

  /* USER CODE END StartTaskDSP */
}
void StartTempProcess(void *argument)
{
  for(;;)
  {
    osDelay(1);
  }
}
